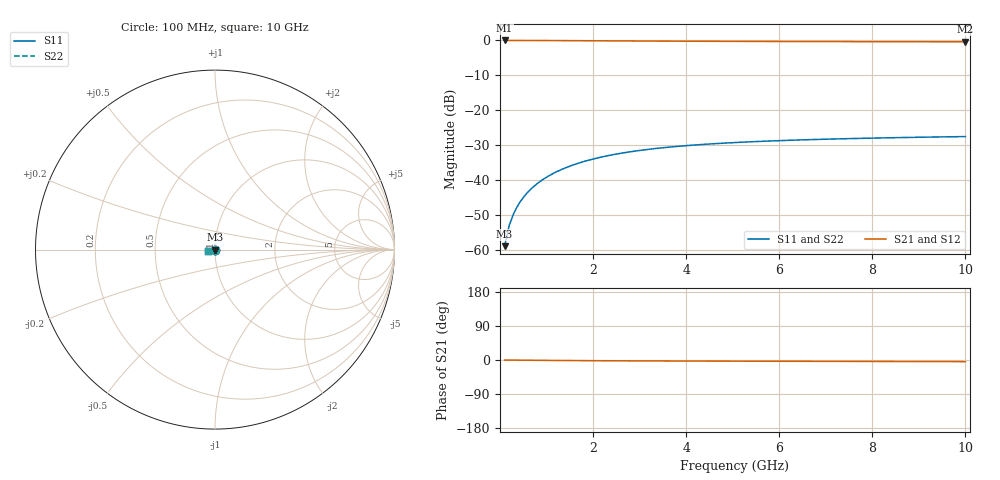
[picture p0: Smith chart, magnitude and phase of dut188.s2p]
! Touchstone file exported from HFSS 2024.1.0
!  File:  C:/UserFiles/LocalFiles/RDL_TSV_Batchsim/temp_TSV1_188_1778756787.aedt
!  Generated:  07:10:49 PM May 14, 2026
!  Design:  TSV1
!  Project:  temp_TSV1_188_1778756787
!  Setup:  Setup1
!  Solution:  Sweep
! Variables:
!  dtsv = 11.01um
!  hbump = 3um
!  htsv = 66.15um
!  lrdl = 252.1521522um
!  p = 40
!  p1 = 46.29um
!  t = 500um
!  trdl = 3um
!  wrdl = 24.89489489um
# GHz S MA R 50.000000
! Terminal data exported
! Port[1] = TSV22_T1
! Port[2] = TSV22_T2
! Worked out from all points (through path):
!   100 points, 100 MHz to 10 GHz, reference 50 ohm
!   highest |S21| = 0.00 dB at 100 MHz (marker M1); lowest = -0.4 dB at 10 GHz (marker M2)
!   lowest |S11| = -58.9 dB at 100 MHz (marker M3), VSWR 1.00, Z = 50 - j0.113 ohm
!   |S11| at or under -10 dB: start of sweep to end of sweep
!   |S22| runs from -58.9 to -27.5 dB; largest |S21 - S12| = 3.6e-15
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0.1  0.001135 -86.2  0.9999 -0.1  0.9999 -0.1  0.001135 -86.2
! Gamma 0 0 0 0
! Port Impedance 50 0 50 0
0.2  0.002264 -90.4  0.9997 -0.2  0.9997 -0.2  0.002264 -90.4
0.3  0.003394 -92.9  0.9996 -0.3  0.9996 -0.3  0.003394 -92.9
0.4  0.004521 -95.0  0.9993 -0.4  0.9993 -0.4  0.004521 -95.0
0.5  0.00564 -96.9  0.999 -0.5  0.999 -0.5  0.00564 -96.9
0.6  0.006747 -98.7  0.9986 -0.6  0.9986 -0.6  0.006747 -98.7
0.7  0.007841 -100.5  0.9982 -0.7  0.9982 -0.7  0.007841 -100.5
0.8  0.008918 -102.2  0.9978 -0.8  0.9978 -0.8  0.008918 -102.2
0.9  0.009976 -103.9  0.9972 -0.9  0.9972 -0.9  0.009976 -103.9
1.1  0.01203 -107.1  0.9961 -1.1  0.9961 -1.1  0.01203 -107.1
1.4  0.01494 -111.8  0.9941 -1.4  0.9941 -1.4  0.01494 -111.8
1.6  0.01675 -114.7  0.9927 -1.5  0.9927 -1.5  0.01675 -114.7
1.8  0.01846 -117.5  0.9911 -1.7  0.9911 -1.7  0.01846 -117.5
2.1  0.02083 -121.5  0.9888 -1.9  0.9888 -1.9  0.02083 -121.5
2.5  0.02363 -126.4  0.9857 -2.1  0.9857 -2.1  0.02363 -126.4
2.9  0.02606 -130.8  0.9827 -2.3  0.9827 -2.3  0.02606 -130.8
3.4  0.02864 -135.7  0.9792 -2.5  0.9792 -2.5  0.02864 -135.7
4.2  0.03192 -142.5  0.9744 -2.8  0.9744 -2.8  0.03192 -142.5
5.1  0.03469 -148.9  0.97 -3.1  0.97 -3.1  0.03469 -148.9
6.7  0.03809 -157.8  0.9642 -3.5  0.9642 -3.5  0.03809 -157.8
8.4  0.04047 -165.2  0.9601 -3.9  0.9601 -3.9  0.04047 -165.2
10  0.04207 -170.9  0.9574 -4.3  0.9574 -4.3  0.04207 -170.9
